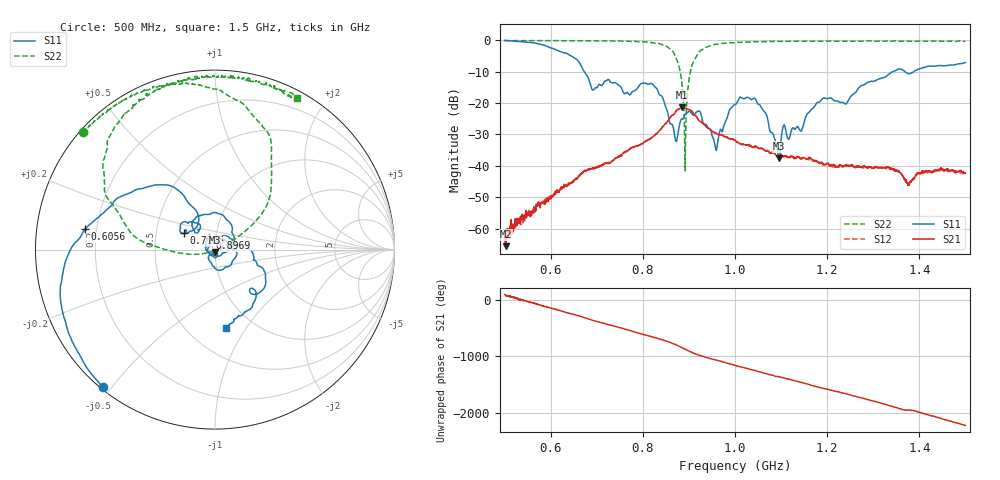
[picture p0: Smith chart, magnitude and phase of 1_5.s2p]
!Agilent Technologies,E8364B,US42250235,A.06.04.32
!Agilent E8364B: A.06.04.32
!Date: Friday, January 15, 2021 12:30:48
!Correction: S11(Full 2 Port(1,2)) S21(Full 2 Port(1,2)) S12(Full 2 Port(1,2)) S22(Full 2 Port(1,2))
!S2P File: Measurements: S11, S21, S12, S22:
# Hz S  dB  R 50
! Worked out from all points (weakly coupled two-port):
!   1601 points, 500 MHz to 1.5 GHz, reference 50 ohm
!   highest |S21| = -21.31 dB at 885 MHz (marker M1); lowest = -65.5 dB at 502.5 MHz (marker M2)
!   lowest |S11| = -37.6 dB at 1.096 GHz (marker M3), VSWR 1.03, Z = 50.2 - j1.32 ohm
!   |S11| at or under -10 dB: 672.7 MHz to 1.343 GHz (670.4 MHz wide, 66.5 % of centre); 1.368 GHz to 1.388 GHz (19.95 MHz wide, 1.45 % of centre)
!   |S22| runs from -41.6 to -0.1 dB; largest |S21 - S12| = 0.0034
!   S11 on the Smith chart (normalised r, x): 500 MHz: 0.01, -0.48; 605.6 MHz: 0.15, +0.08; 712.5 MHz: 0.70, +0.13; 896.9 MHz: 0.93, +0.12; 1.5 GHz: 0.76, -0.82
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5e8  -0.10 -129.1  -63.22 93.3  -62.96 86.4  -0.14 138.3
5.025e8  -0.11 -130.3  -65.55 81.3  -61.86 80.5  -0.14 138.1
6.05625e8  -2.69 171.1  -49.30 -158.6  -48.96 -158.0  -0.20 127.9
6.66875e8  -8.37 121.4  -42.59 61.4  -42.43 59.8  -0.18 121.9
6.9125e8  -15.89 132.9  -40.78 -4.8  -40.78 -6.1  -0.23 118.5
7.125e8  -14.24 152.2  -39.59 -51.2  -39.71 -52.7  -0.23 116.6
8.3375e8  -16.62 49.3  -29.21 33.3  -29.16 31.4  -1.05 87.6
8.7125e8  -31.94 -113.5  -22.73 -74.8  -22.84 -77.1  -5.34 54.3
8.85e8  -25.09 158.8  -21.31 -130.5  -21.43 -132.2  -13.94 31.6
8.90625e8  -23.90 141.4  -21.58 -153.3  -21.64 -154.8  -30.51 13.6
8.96875e8  -23.02 116.3  -21.91 -177.4  -21.94 -178.4  -16.94 -169.4
9.11875e8  -23.61 83.8  -23.81 128.3  -23.68 126.5  -6.30 168.1
9.5875e8  -34.97 35.9  -29.62 11.6  -29.61 10.9  -1.33 133.4
1e9  -20.46 4.3  -31.89 -83.1  -31.83 -84.5  -0.77 120.2
1.044375e9  -18.76 -82.5  -33.62 -176.5  -34.09 -178.1  -0.52 114.0
1.09625e9  -37.56 -81.9  -36.54 74.9  -37.01 72.8  -0.38 106.3
1.105625e9  -27.11 -83.8  -37.14 53.6  -36.79 51.3  -0.38 105.0
1.143125e9  -28.91 145.6  -37.89 -23.9  -37.38 -26.3  -0.34 100.1
1.166875e9  -21.91 70.0  -37.95 -79.9  -38.16 -80.0  -0.38 97.4
1.33375e9  -10.84 -21.7  -40.45 -72.7  -40.87 -74.4  -0.30 80.6
1.375625e9  -10.62 -48.8  -46.26 -156.0  -46.18 -154.8  -0.33 76.2
1.5e9  -7.14 -81.6  -42.29 -67.4  -42.91 -65.5  -0.34 61.5
